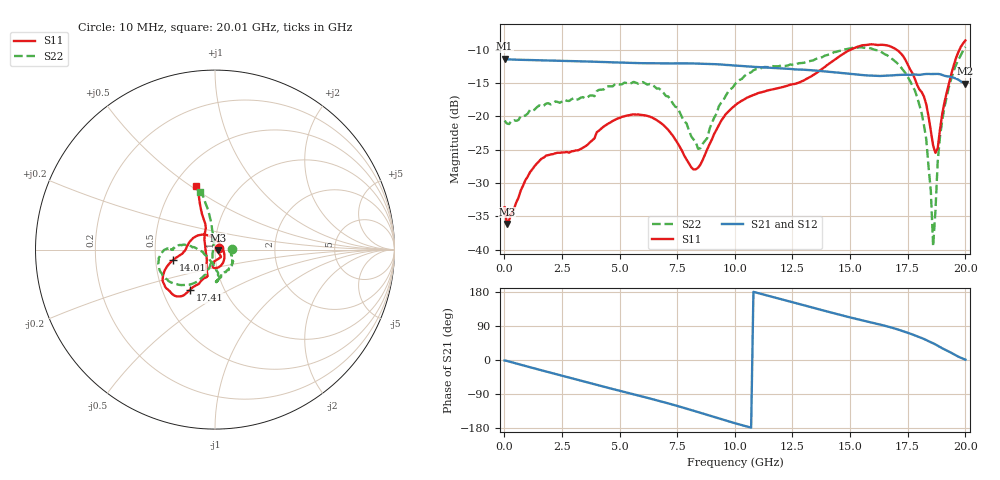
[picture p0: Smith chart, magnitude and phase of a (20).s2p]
! Hittite Microwave Corporation
! 2 Elizabeth Drive
! Chelmsford, MA 01824
! http://www.hittite.com
! Tel: 978-250-3343
! Fax: 978-250-3373
! Device:  HMC424LP3
! Description: 0.5 dB GaAs MMIC 6-Bit Digital Attenuator
! Frequency:  DC -  13.00 GHz
! Package:  LP3  - 3x3 mm Quad Flatpack No-Lead (QFN) Plastic Package: 16 pin
! Ports:  2 RF, 7 DC
!  Pad  1  = Ground
!  Pad  2  = RF IN  = Port 1
!  Pad  3  = Ground
!  Pad  4  = V6
!  Pad  5  = V5
!  Pad  6  = V4
!  Pad  7  = V3
!  Pad  8  = V2
!  Pad  9  = V1
!  Pad 10  = Ground
!  Pad 11  = RF OUT  = Port 2
!  Pad 12  = Ground
!  Pad 15  = VEE
! Control:  -5 Volt control voltage
! State:  18
! Attenuation:  9.0 dB
! Voltages:  Vdd = -5.00 Volts  Idd =  -2.432 mA
!  V1  = 0.00 Volts  I1  =  30.0 uA
!  V2  = -5.00 Volts  I2  =  -1.0 uA
!  V3  = 0.00 Volts  I3  =  29.0 uA
!  V4  = 0.00 Volts  I4  =  30.0 uA
!  V5  = -5.00 Volts  I5  =  -1.0 uA
!  V6  = 0.00 Volts  I6  =  30.0 uA
! Data:  The device was measured on evaluation board 105354-1.
!  Data was collected using a calibrated network analyzer.
!  The evaluation circuit board was modeled and simulated.  This was use
!  to removed the evaluation board circuit from the measured data.
!  The reference plane is the edge of the package pin.
! Misc:  Lot xxxx, Unit 1
!  Application 20120001, Data collected in Application 20090083
! Date Measured:  2009-09-15
! Date:  2012-05-14  MJV
! Note:
!  Hittite supplies this data as a sample of measured data at the package pin
!  for this product.  Your particular data for this product may vary.
!  Data was taken at 25 degrees C.
!  Hittite reserves the right to change this data at anytime.
# GHz S MA R 50
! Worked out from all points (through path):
!   201 points, 10 MHz to 20.01 GHz, reference 50 ohm
!   highest |S21| = -11.34 dB at 10 MHz (marker M1); lowest = -15.1 dB at 20.01 GHz (marker M2)
!   group delay of S21, straight-line fit = 47.1 ps
!   lowest |S11| = -36.1 dB at 110 MHz (marker M3), VSWR 1.03, Z = 51.6 - j0.228 ohm
!   |S11| at or under -10 dB: start of sweep to 15.03 GHz; 17.02 GHz to 19.75 GHz (2.738 GHz wide, 14.9 % of centre)
!   |S22| runs from -39.5 to -9.6 dB; largest |S21 - S12| = 0.0022
!   S11 on the Smith chart (normalised r, x): 10 MHz: 1.04, +0.01; 14.01 GHz: 0.62, -0.08; 17.41 GHz: 0.69, -0.33; 20.01 GHz: 0.64, +0.53
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0.01  0.02085 17.8  0.2709 -1.3  0.2688 -1.3  0.09293 2.6
0.11  0.01565 -8.1  0.2676 -2.4  0.2671 -2.4  0.08838 -1.6
1.61  0.04817 -48.5  0.2629 -27.2  0.2625 -27.2  0.1185 -33.4
3.41  0.05825 -82.0  0.2584 -56.1  0.2579 -56.1  0.1395 -64.0
5.11  0.09928 -96.6  0.2525 -82.8  0.2521 -82.8  0.1739 -87.1
6.71  0.09116 -65.1  0.2496 -107.8  0.2491 -107.8  0.1618 -83.9
7.51  0.06345 -33.8  0.2497 -121.3  0.2492 -121.3  0.116 -86.7
8.41  0.04125 48.6  0.2486 -137.5  0.2482 -137.5  0.05701 -127.2
10.01  0.1206 138.3  0.2404 -166.9  0.24 -166.9  0.1739 170.8
13.41  0.2041 -170.2  0.2211 137.8  0.2206 137.8  0.263 178.6
14.01  0.2423 -166.0  0.2166 128.0  0.2165 128.0  0.2879 -178.4
15.51  0.3401 -149.0  0.204 105.0  0.2039 105.0  0.329 -159.1
16.71  0.3368 -129.3  0.2021 87.2  0.2018 87.2  0.2798 -135.4
17.41  0.2643 -122.0  0.2051 73.7  0.2048 73.7  0.2114 -120.4
17.91  0.1729 -111.5  0.2051 62.5  0.205 62.5  0.1403 -109.8
18.31  0.1232 -111.9  0.2078 52.7  0.2075 52.7  0.06759 -104.8
18.51  0.07737 -126.0  0.2076 46.9  0.2073 46.9  0.02754 -121.7
18.61  0.06044 -140.8  0.2078 44.1  0.2075 44.1  0.01065 -166.9
18.81  0.05782 160.7  0.208 37.6  0.2077 37.6  0.04637 98.3
19.01  0.1055 123.0  0.2043 30.8  0.204 30.8  0.09449 97.8
19.51  0.2431 109.1  0.1946 15.1  0.1943 15.2  0.2208 99.7
20.01  0.3705 106.6  0.1758 1.0  0.1757 1.0  0.3311 104.1
